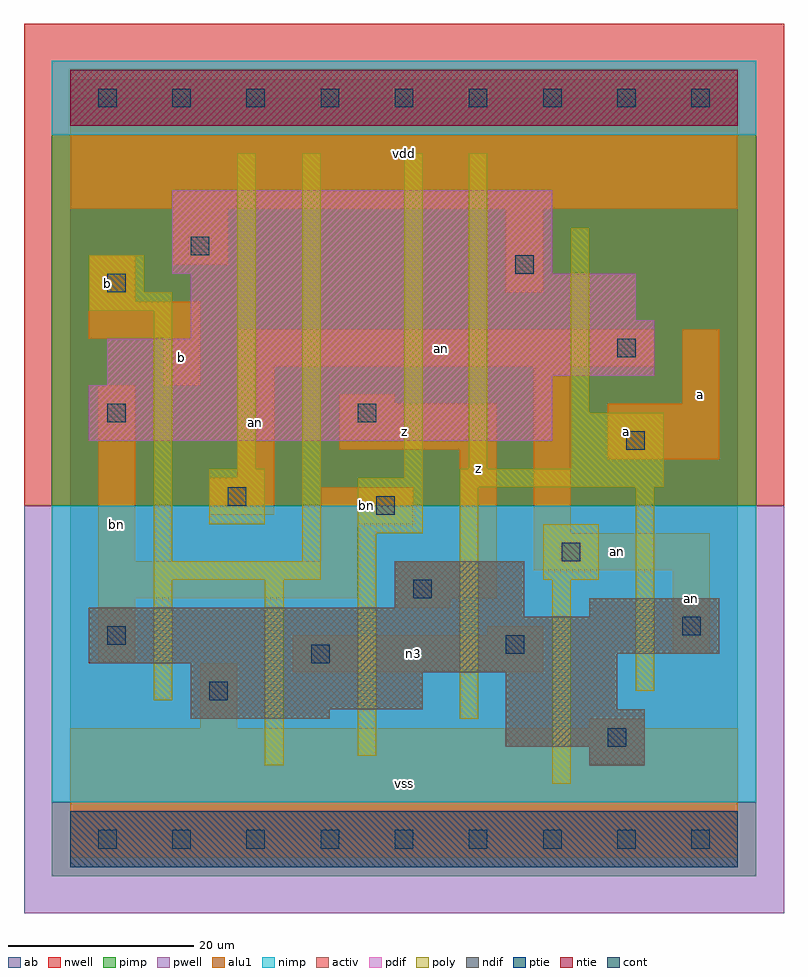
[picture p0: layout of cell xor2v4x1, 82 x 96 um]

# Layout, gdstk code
import gdstk
lib = gdstk.Library(unit=1e-6, precision=1e-09)
def R(c, l, rs):  # rectangles x0, y0, x1, y1
    for r in rs: c.add(gdstk.rectangle(r[:2], r[2:], *l))
def A(c, l, x, y, w, h, nx, ny, dx, dy):  # array of equal rectangles
    R(c, l, [(x+i*dx, y+j*dy, x+i*dx+w, y+j*dy+h) for i in range(nx) for j in range(ny)])
ndif = (3, 0)
pdif = (4, 0)
ntie = (5, 0)
ptie = (6, 0)
cont = (25, 0)
pwell = (41, 0)
nwell = (42, 0)
activ = (43, 0)
pimp = (44, 0)
nimp = (45, 0)
poly = (46, 0)
alu1 = (49, 0)
ab = (63, 0)

xor2v4x1 = lib.new_cell('xor2v4x1')
R(xor2v4x1, ndif, [(56,8,62,10), (47,10,62,14), (13,13,28,14), (13,14,38,18), (47,14,59,18), (13,18,59,19), (2,19,59,20), (2,20,70,24), (2,24,49,25), (56,24,70,26), (35,25,49,30)])
R(xor2v4x1, pdif, [(2,43,52,49), (4,49,52,50), (4,50,63,54), (13,54,63,56), (13,56,61,61), (11,61,52,70)])
R(xor2v4x1, ntie, [(0,77,72,83)])
R(xor2v4x1, ptie, [(0,-3,72,3)])
A(xor2v4x1, cont, 3, -1, 2, 2, 9, 2, 8, 80)
R(xor2v4x1, cont, [(58,10,60,12), (15,15,17,17), (26,19,28,21), (47,20,49,22), (4,21,6,23), (66,22,68,24), (37,26,39,28), (53,30,55,32), (33,35,35,37), (17,36,19,38), (60,42,62,44), (4,45,6,47), (31,45,33,47), (59,52,61,54), (4,59,6,61), (48,61,50,63), (13,63,15,65)])
R(xor2v4x1, pwell, [(-5,-8,77,36)])
R(xor2v4x1, nwell, [(-5,36,77,88)])
R(xor2v4x1, activ, [(0,-3,72,3), (56,8,62,10), (47,10,62,14), (13,13,28,14), (13,14,38,18), (47,14,59,18), (13,18,59,19), (2,19,59,20), (2,20,70,24), (2,24,49,25), (56,24,70,26), (35,25,49,30), (2,43,52,49), (4,49,52,50), (4,50,63,54), (13,54,63,56), (13,56,61,61), (11,61,52,70), (0,77,72,83)])
R(xor2v4x1, pimp, [(-2,-4,74,4), (-2,36,74,76)])
R(xor2v4x1, nimp, [(-2,4,74,36), (-2,76,74,84)])
R(xor2v4x1, poly, [(52,6,54,28), (21,8,23,28), (31,9,33,33), (42,13,44,38), (9,15,11,28), (61,16,63,38), (9,28,27,30), (51,28,57,34), (9,30,11,57), (25,30,27,74), (31,33,38,39), (15,34,21,40), (42,38,64,40), (36,39,38,74), (18,40,20,74), (43,40,45,74), (54,40,64,46), (54,46,56,66), (2,57,11,59), (2,59,8,63)])
R(xor2v4x1, alu1, [(0,-2,72,12), (14,12,18,19), (56,12,62,13), (24,18,51,22), (3,19,7,26), (65,20,69,29), (45,22,51,23), (35,25,41,26), (3,26,31,30), (35,26,46,30), (50,29,69,33), (3,30,7,49), (27,30,31,34), (42,30,46,42), (50,33,54,51), (27,34,37,38), (15,35,22,39), (18,39,22,51), (58,41,70,47), (29,42,46,47), (29,47,35,48), (66,47,70,55), (10,49,14,54), (18,51,63,55), (2,54,14,58), (2,58,7,63), (47,59,51,68), (11,62,17,68), (0,68,72,82)])
R(xor2v4x1, ab, [(0,0,72,80)])
xor2v4x1.add(gdstk.Label('bn', (5,34), layer=49, texttype=0))
xor2v4x1.add(gdstk.Label('an', (20,45), layer=49, texttype=0))
xor2v4x1.add(gdstk.Label('n3', (37,20), layer=49, texttype=0))
xor2v4x1.add(gdstk.Label('bn', (32,36), layer=49, texttype=0))
xor2v4x1.add(gdstk.Label('an', (67,26), layer=49, texttype=0))
xor2v4x1.add(gdstk.Label('an', (59,31), layer=49, texttype=0))
xor2v4x1.add(gdstk.Label('an', (40,53), layer=49, texttype=0))
xor2v4x1.add(gdstk.Label('b', (12,52), layer=49, texttype=0))
xor2v4x1.add(gdstk.Label('b', (4,60), layer=49, texttype=0))
xor2v4x1.add(gdstk.Label('vss', (36,6), layer=49, texttype=0))
xor2v4x1.add(gdstk.Label('z', (44,40), layer=49, texttype=0))
xor2v4x1.add(gdstk.Label('z', (36,44), layer=49, texttype=0))
xor2v4x1.add(gdstk.Label('vdd', (36,74), layer=49, texttype=0))
xor2v4x1.add(gdstk.Label('a', (60,44), layer=49, texttype=0))
xor2v4x1.add(gdstk.Label('a', (68,48), layer=49, texttype=0))

lib.write_gds('xor2v4x1.gds')
